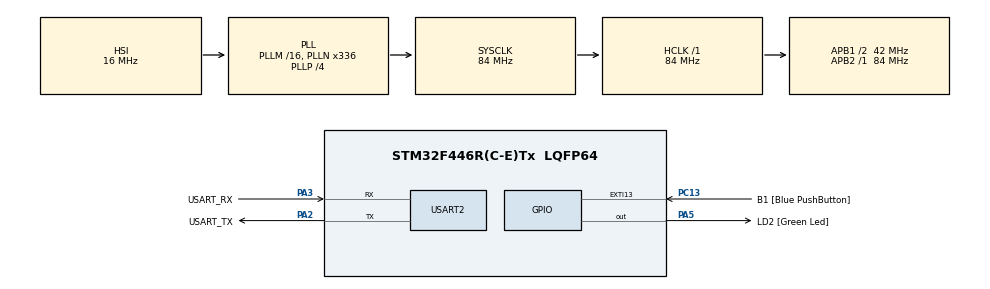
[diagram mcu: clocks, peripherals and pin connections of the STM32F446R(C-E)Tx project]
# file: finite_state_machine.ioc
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Mcu.Family=STM32F4
Mcu.Name=STM32F446R(C-E)Tx
Mcu.Package=LQFP64
NVIC.PriorityGroup=NVIC_PRIORITYGROUP_0
PA13.GPIO_Label=TMS
PA13.Mode=Serial_Wire
PA13.Signal=SYS_JTMS-SWDIO
PA14.GPIO_Label=TCK
PA14.Mode=Serial_Wire
PA14.Signal=SYS_JTCK-SWCLK
PA2.GPIO_Label=USART_TX
PA2.Mode=Asynchronous
PA2.Signal=USART2_TX
PA3.GPIO_Label=USART_RX
PA3.Mode=Asynchronous
PA3.Signal=USART2_RX
PA5.GPIO_Label=LD2 [Green Led]
PA5.Signal=GPIO_Output
PB3.GPIO_Label=SWO
PB3.Signal=SYS_JTDO-SWO
PC13.GPIO_Label=B1 [Blue PushButton]
PC13.GPIO_ModeDefaultEXTI=GPIO_MODE_IT_FALLING
PC13.Signal=GPXTI13
PC14-OSC32_IN.Mode=LSE-External-Oscillator
PC14-OSC32_IN.Signal=RCC_OSC32_IN
PC15-OSC32_OUT.Mode=LSE-External-Oscillator
PC15-OSC32_OUT.Signal=RCC_OSC32_OUT
PH0-OSC_IN.Mode=HSE-External-Oscillator
PH0-OSC_IN.Signal=RCC_OSC_IN
PH1-OSC_OUT.Mode=HSE-External-Oscillator
PH1-OSC_OUT.Signal=RCC_OSC_OUT
ProjectManager.HeapSize=0x200
ProjectManager.StackSize=0x400
ProjectManager.TargetToolchain=STM32CubeIDE
RCC.48MHZClocksFreq_Value=84000000
RCC.AHBFreq_Value=84000000
RCC.APB1CLKDivider=RCC_HCLK_DIV2
RCC.APB1Freq_Value=42000000
RCC.APB1TimFreq_Value=84000000
RCC.APB2Freq_Value=84000000
RCC.APB2TimFreq_Value=84000000
RCC.CortexFreq_Value=84000000
RCC.FLatency-AdvancedSettings=FLASH_LATENCY_2
RCC.HCLKFreq_Value=84000000
RCC.HSE_VALUE=8000000
RCC.HSI_VALUE=16000000
RCC.PLLN=336
RCC.PLLP=RCC_PLLP_DIV4
RCC.SYSCLKFreq_VALUE=84000000
RCC.SYSCLKSource=RCC_SYSCLKSOURCE_PLLCLK
RCC.USBFreq_Value=168000000
RCC.VCOOutputFreq_Value=336000000
USART2.VirtualMode=VM_ASYNC
board=NUCLEO-F446RE

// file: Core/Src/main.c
/* USER CODE BEGIN Header */
/**
  ******************************************************************************
  * @file           : main.c
  * @brief          : Main program body
  ******************************************************************************
  * @attention
  *
  * Copyright (c) 2025 STMicroelectronics.
  * All rights reserved.
  *
  * This software is licensed under terms that can be found in the LICENSE file
  * in the root directory of this software component.
  * If no LICENSE file comes with this software, it is provided AS-IS.
  *
  ******************************************************************************
  */
/* USER CODE END Header */
#include "main.h"
#include "stm32f4xx_hal.h"
#include <string.h>
#include <stdio.h>

/* USER CODE BEGIN PM */
UART_HandleTypeDef huart2;

/* FSM States */
typedef enum {
    ATM_IDLE,
    ATM_MENU,
    ATM_WITHDRAW,
    ATM_BALANCE,
    ATM_EXIT
} ATM_State;
ATM_State current_state = ATM_IDLE;
char rx_data;
char tx_buffer[100];
int balance = 5000;

//char rx_buffer[1];
//int balance = 5000;/* Global Variables */
/* USER CODE END PM */

UART_HandleTypeDef huart2;

void SystemClock_Config(void);
static void MX_GPIO_Init(void);
static void MX_USART2_UART_Init(void);
/* USER CODE BEGIN PFP */
//void handle_state(State_t *state);
//void uart_print(const char *msg);
//void Error_Handler(void);
/* USER CODE END PFP */

/* USER CODE BEGIN 0 */
void uart_send(char *msg) {
    HAL_UART_Transmit(&huart2, (uint8_t*)msg, strlen(msg), HAL_MAX_DELAY);
}

// Receive one char (blocking)
char uart_receive_char() {
    char ch;
    HAL_UART_Receive(&huart2, (uint8_t *)&ch, 1, HAL_MAX_DELAY);
    return ch;
}

// ATM FSM logic
void atm_run(void) {
    while (1) {
        switch (current_state) {
            case ATM_IDLE:
                uart_send("\n\nMACHINE READY\n");
                HAL_Delay(1000);
                current_state = ATM_MENU;
                break;

            case ATM_MENU:
                uart_send("\nWelcome to ATM\n");
                uart_send("Select Option:\n");
                uart_send("1. Withdraw 1000\n");
                uart_send("2. Check Balance\n");
                uart_send("3. Exit\n");
                uart_send("Your choice: ");
                rx_data = uart_receive_char();
                HAL_UART_Transmit(&huart2, (uint8_t*)&rx_data, 1, HAL_MAX_DELAY); // echo input
                uart_send("\n");

                if (rx_data == '1') current_state = ATM_WITHDRAW;
                else if (rx_data == '2') current_state = ATM_BALANCE;
                else if (rx_data == '3') current_state = ATM_EXIT;
                else uart_send("Invalid Option. Try Again.\n");
                break;

            case ATM_WITHDRAW:
                if ( balance >= 1000) {
                    balance -= 1000;
                    uart_send("Withdrawal of 1000 successful.\n");
                } else {
                    uart_send("Insufficient Balance.\n");
                }
                current_state = ATM_MENU;
                break;

            case ATM_BALANCE:
                sprintf(tx_buffer, "Current Balance: %d\n", balance);
                uart_send(tx_buffer);
                current_state = ATM_MENU;
                break;

            case ATM_EXIT:
                uart_send("Thank you for using ATM. Goodbye!\n");
                HAL_Delay(2000);
                current_state = ATM_IDLE;
                break;

            default:
                uart_send("Unknown State\n");
                current_state = ATM_IDLE;
                break;
        }
    }
}

/* USER CODE END 0 */

int main(void)
{

  /* MCU Configuration--------------------------------------------------------*/

  /* Reset of all peripherals, Initializes the Flash interface and the Systick. */
  HAL_Init();

  /* Configure the system clock */
  SystemClock_Config();

  /* Initialize all configured peripherals */
  MX_GPIO_Init();
  MX_USART2_UART_Init();
  /* USER CODE BEGIN 2 */
 // uart_print("FSM Started!\r\n");
//  send_uart("ATM MACHINE READY\r\n");
//  HAL_UART_Receive_IT(&huart2, (uint8_t*)rx_buffer, 1);
  /* USER CODE END 2 */
  atm_run();  // Start ATM FSM

  /* Infinite loop */
  while (1)
  {

  }
}
//void handle_state(State_t *state)
//{
//    switch (*state)
//    {
//        case STATE_IDLE:
//            uart_print("State: IDLE\r\n");
//            *state = STATE_SELECT_PRODUCT;
//            break;
//
//        case STATE_SELECT_PRODUCT:
//            uart_print("State: SELECTING PRODUCT\r\n");
//            *state = STATE_PROCESS_PAYMENT;
//            break;
//
//        case STATE_PROCESS_PAYMENT:
//            uart_print("State: PROCESSING PAYMENT\r\n");
//            *state = STATE_DISPENSE_PRODUCT;
//            break;
//
//        case STATE_DISPENSE_PRODUCT:
//            uart_print("State: DISPENSING PRODUCT\r\n");
//            *state = STATE_IDLE;
//            break;
//    }
//}
//
//// ===== UART Print Helper =====
//void uart_print(const char *msg)
//{
//    HAL_UART_Transmit(&huart2, (uint8_t*)msg, strlen(msg), HAL_MAX_DELAY);
//}
void SystemClock_Config(void)
{
  RCC_OscInitTypeDef RCC_OscInitStruct = {0};
  RCC_ClkInitTypeDef RCC_ClkInitStruct = {0};

  /** Configure the main internal regulator output voltage
  */
  __HAL_RCC_PWR_CLK_ENABLE();
  __HAL_PWR_VOLTAGESCALING_CONFIG(PWR_REGULATOR_VOLTAGE_SCALE3);

  /** Initializes the RCC Oscillators according to the specified parameters
  * in the RCC_OscInitTypeDef structure.
  */
  RCC_OscInitStruct.OscillatorType = RCC_OSCILLATORTYPE_HSI;
  RCC_OscInitStruct.HSIState = RCC_HSI_ON;
  RCC_OscInitStruct.HSICalibrationValue = RCC_HSICALIBRATION_DEFAULT;
  RCC_OscInitStruct.PLL.PLLState = RCC_PLL_ON;
  RCC_OscInitStruct.PLL.PLLSource = RCC_PLLSOURCE_HSI;
  RCC_OscInitStruct.PLL.PLLM = 16;
  RCC_OscInitStruct.PLL.PLLN = 336;
  RCC_OscInitStruct.PLL.PLLP = RCC_PLLP_DIV4;
  RCC_OscInitStruct.PLL.PLLQ = 2;
  RCC_OscInitStruct.PLL.PLLR = 2;
  if (HAL_RCC_OscConfig(&RCC_OscInitStruct) != HAL_OK)
  {
    Error_Handler();
  }

  /** Initializes the CPU, AHB and APB buses clocks
  */
  RCC_ClkInitStruct.ClockType = RCC_CLOCKTYPE_HCLK|RCC_CLOCKTYPE_SYSCLK
                              |RCC_CLOCKTYPE_PCLK1|RCC_CLOCKTYPE_PCLK2;
  RCC_ClkInitStruct.SYSCLKSource = RCC_SYSCLKSOURCE_PLLCLK;
  RCC_ClkInitStruct.AHBCLKDivider = RCC_SYSCLK_DIV1;
  RCC_ClkInitStruct.APB1CLKDivider = RCC_HCLK_DIV2;
  RCC_ClkInitStruct.APB2CLKDivider = RCC_HCLK_DIV1;

  if (HAL_RCC_ClockConfig(&RCC_ClkInitStruct, FLASH_LATENCY_2) != HAL_OK)
  {
    Error_Handler();
  }
}

static void MX_USART2_UART_Init(void)
{

  huart2.Instance = USART2;
  huart2.Init.BaudRate = 115200;
  huart2.Init.WordLength = UART_WORDLENGTH_8B;
  huart2.Init.StopBits = UART_STOPBITS_1;
  huart2.Init.Parity = UART_PARITY_NONE;
  huart2.Init.Mode = UART_MODE_TX_RX;
  huart2.Init.HwFlowCtl = UART_HWCONTROL_NONE;
  huart2.Init.OverSampling = UART_OVERSAMPLING_16;
  if (HAL_UART_Init(&huart2) != HAL_OK)
  {
    Error_Handler();
  }

}

static void MX_GPIO_Init(void)
{
  GPIO_InitTypeDef GPIO_InitStruct = {0};

  /* GPIO Ports Clock Enable */
  __HAL_RCC_GPIOC_CLK_ENABLE();
  __HAL_RCC_GPIOH_CLK_ENABLE();
  __HAL_RCC_GPIOA_CLK_ENABLE();
  __HAL_RCC_GPIOB_CLK_ENABLE();

  /*Configure GPIO pin Output Level */
  HAL_GPIO_WritePin(LD2_GPIO_Port, LD2_Pin, GPIO_PIN_RESET);

  /*Configure GPIO pin : B1_Pin */
  GPIO_InitStruct.Pin = B1_Pin;
  GPIO_InitStruct.Mode = GPIO_MODE_IT_FALLING;
  GPIO_InitStruct.Pull = GPIO_NOPULL;
  HAL_GPIO_Init(B1_GPIO_Port, &GPIO_InitStruct);

  /*Configure GPIO pin : LD2_Pin */
  GPIO_InitStruct.Pin = LD2_Pin;
  GPIO_InitStruct.Mode = GPIO_MODE_OUTPUT_PP;
  GPIO_InitStruct.Pull = GPIO_NOPULL;
  GPIO_InitStruct.Speed = GPIO_SPEED_FREQ_LOW;
  HAL_GPIO_Init(LD2_GPIO_Port, &GPIO_InitStruct);

}

void Error_Handler(void)
{
  __disable_irq();
  while (1)
  {
  }
}
